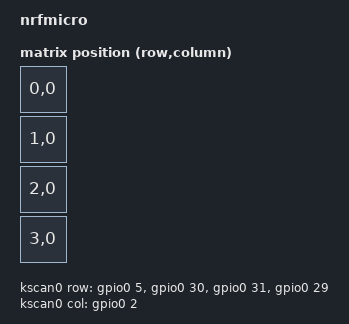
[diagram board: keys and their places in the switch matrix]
/*
 * Copyright (c) 2020 The ZMK Contributors
 *
 * SPDX-License-Identifier: MIT
 */

/dts-v1/;
#include <nordic/nrf52840_qiaa.dtsi>
#include <dt-bindings/zmk/matrix_transform.h>

/ {
    model = "nrfmicro";
    compatible = "joric,nrfmicro";

    chosen {
        zephyr,code-partition = &code_partition;
        zephyr,sram = &sram0;
        zephyr,flash = &flash0;
        zmk,battery = &vbatt;
        zmk,kscan = &kscan0;
        zmk,matrix-transform = &default_transform;
    };

    default_transform: keymap_transform_0 {
        compatible = "zmk,matrix-transform";
        columns = <1>;
        rows = <4>;
        map = <
RC(0,0)
RC(1,0)
RC(2,0)
RC(3,0)
        >;
    };

    leds {
        compatible = "gpio-leds";
        blue_led: led_0 {
            gpios = <&gpio1 10 GPIO_ACTIVE_HIGH>;
        };
    };

    // Node name must match original "EXT_POWER" label to preserve user settings.
    //EXT_POWER {
    //    compatible = "zmk,ext-power-generic";
    //    control-gpios = <&gpio1 9 GPIO_ACTIVE_LOW>;
    //    init-delay-ms = <50>;
    //};

    vbatt: vbatt {
        compatible = "zmk,battery-voltage-divider";
        io-channels = <&adc 2>;
        output-ohms = <2000000>;
        full-ohms = <(2000000 + 820000)>;
    };

    kscan0: kscan {
        compatible = "zmk,kscan-gpio-matrix";
        wakeup-source;
        row-gpios
            = <&gpio0 5  (GPIO_ACTIVE_HIGH | GPIO_PULL_DOWN)>
            , <&gpio0 30 (GPIO_ACTIVE_HIGH | GPIO_PULL_DOWN)>
            , <&gpio0 31 (GPIO_ACTIVE_HIGH | GPIO_PULL_DOWN)>
            , <&gpio0 29 (GPIO_ACTIVE_HIGH | GPIO_PULL_DOWN)>
            ;
        col-gpios
            = <&gpio0 2  GPIO_ACTIVE_HIGH>
            ;
    };
};

&adc {
    status = "okay";
};

&gpiote {
    status = "okay";
};

&gpio0 {
    status = "okay";
};

&gpio1 {
    status = "okay";
};

&i2c0 {
    compatible = "nordic,nrf-twi";
    pinctrl-0 = <&i2c0_default>;
    pinctrl-1 = <&i2c0_sleep>;
    pinctrl-names = "default", "sleep";
};

&spi1 {
    compatible = "nordic,nrf-spim";
    pinctrl-0 = <&spi1_default>;
    pinctrl-1 = <&spi1_sleep>;
    pinctrl-names = "default", "sleep";
};

&uart0 {
    compatible = "nordic,nrf-uarte";
    current-speed = <115200>;
    pinctrl-0 = <&uart0_default>;
    pinctrl-1 = <&uart0_sleep>;
    pinctrl-names = "default", "sleep";
};

zephyr_udc0: &usbd {
    status = "okay";
};


&flash0 {
    /*
     * For more information, see:
     * http://docs.zephyrproject.org/latest/devices/dts/flash_partitions.html
     */
    partitions {
        compatible = "fixed-partitions";
        #address-cells = <1>;
        #size-cells = <1>;

        sd_partition: partition@0 {
            reg = <0x00000000 0x00026000>;
        };
        code_partition: partition@26000 {
            reg = <0x00026000 0x000c6000>;
        };

        /*
         * The flash starting at 0x000ec000 and ending at
         * 0x000f3fff is reserved for use by the application.
         */

        /*
         * Storage partition will be used by FCB/LittleFS/NVS
         * if enabled.
         */
        storage_partition: partition@ec000 {
            reg = <0x000ec000 0x00008000>;
        };

        boot_partition: partition@f4000 {
            reg = <0x000f4000 0x0000c000>;
        };
    };
};
